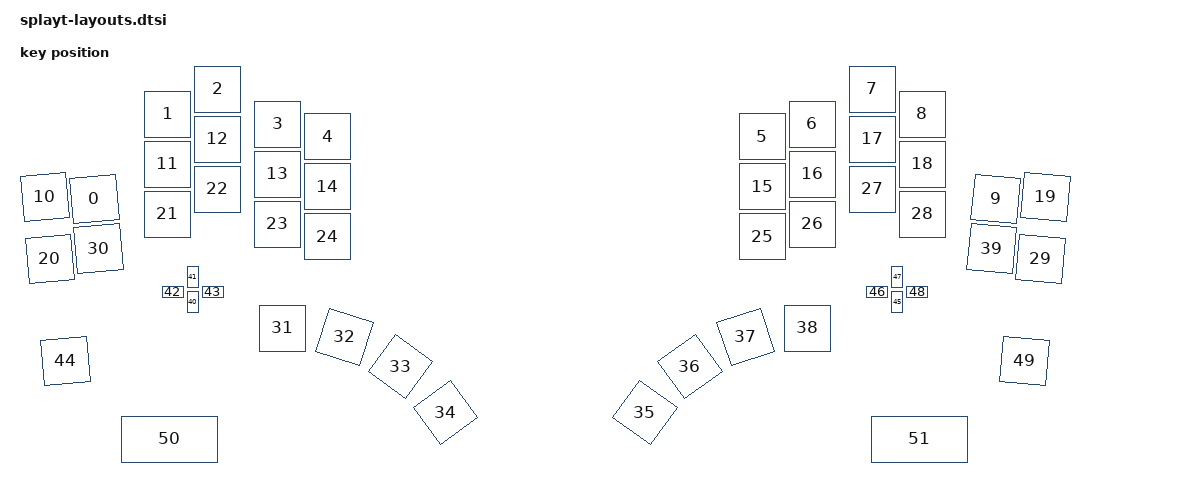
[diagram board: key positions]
#include <physical_layouts.dtsi>

/ {
    physical_layout_splayt: physical_layout_splayt {
        compatible = "zmk,physical-layout";
        display-name = "Splayt";
        keys  //                     w   h    x    y     rot    rx    ry
            = <&key_physical_attrs 100 100   99  220  (-500)   149   270>
            , <&key_physical_attrs 100 100  246   50       0     0     0>
            , <&key_physical_attrs 100 100  346    0       0     0     0>
            , <&key_physical_attrs 100 100  466   70       0     0     0>
            , <&key_physical_attrs 100 100  566   95       0     0     0>
            , <&key_physical_attrs 100 100 1435   95       0     0     0>
            , <&key_physical_attrs 100 100 1535   70       0     0     0>
            , <&key_physical_attrs 100 100 1655    0       0     0     0>
            , <&key_physical_attrs 100 100 1755   50       0     0     0>
            , <&key_physical_attrs 100 100 1902  220     500  1952   270>
            , <&key_physical_attrs 100 100    0  216  (-500)    50   266>
            , <&key_physical_attrs 100 100  246  150       0     0     0>
            , <&key_physical_attrs 100 100  346  100       0     0     0>
            , <&key_physical_attrs 100 100  466  170       0     0     0>
            , <&key_physical_attrs 100 100  566  195       0     0     0>
            , <&key_physical_attrs 100 100 1435  195       0     0     0>
            , <&key_physical_attrs 100 100 1535  170       0     0     0>
            , <&key_physical_attrs 100 100 1655  100       0     0     0>
            , <&key_physical_attrs 100 100 1755  150       0     0     0>
            , <&key_physical_attrs 100 100 2001  216     500  2051   266>
            , <&key_physical_attrs 100 100   10  340  (-500)    60   390>
            , <&key_physical_attrs 100 100  246  250       0     0     0>
            , <&key_physical_attrs 100 100  346  200       0     0     0>
            , <&key_physical_attrs 100 100  466  270       0     0     0>
            , <&key_physical_attrs 100 100  566  295       0     0     0>
            , <&key_physical_attrs 100 100 1435  295       0     0     0>
            , <&key_physical_attrs 100 100 1535  270       0     0     0>
            , <&key_physical_attrs 100 100 1655  200       0     0     0>
            , <&key_physical_attrs 100 100 1755  250       0     0     0>
            , <&key_physical_attrs 100 100 1991  340     500  2041   390>
            , <&key_physical_attrs 100 100  107  319  (-500)   157   369>
            , <&key_physical_attrs 100 100  476  478       0     0     0>
            , <&key_physical_attrs 100 100  599  496    1800   649   546>
            , <&key_physical_attrs 100 100  711  555    3600   761   605>
            , <&key_physical_attrs 100 100  801  647 (-3600)   851   697>
            , <&key_physical_attrs 100 100 1200  647    3600  1250   697>
            , <&key_physical_attrs 100 100 1290  555 (-3600)  1340   605>
            , <&key_physical_attrs 100 100 1402  496 (-1800)  1452   546>
            , <&key_physical_attrs 100 100 1525  478       0     0     0>
            , <&key_physical_attrs 100 100 1894  319     500  1944   369>
            , <&key_physical_attrs  30  50  331  450       0     0     0>
            , <&key_physical_attrs  30  50  331  400       0     0     0>
            , <&key_physical_attrs  50  30  281  440       0     0     0>
            , <&key_physical_attrs  50  30  361  440       0     0     0>
            , <&key_physical_attrs 100 100   21  550  (-500)    12   366>
            , <&key_physical_attrs  30  50 1740  450       0     0     0>
            , <&key_physical_attrs  50  30 1690  440       0     0     0>
            , <&key_physical_attrs  30  50 1740  400       0     0     0>
            , <&key_physical_attrs  50  30 1770  440       0     0     0>
            , <&key_physical_attrs 100 100 1980  550     500  2089   366>
            , <&key_physical_attrs 200 100  200  700       0     0     0>
            , <&key_physical_attrs 200 100 1700  700       0     0     0>
            ;
    };
};
